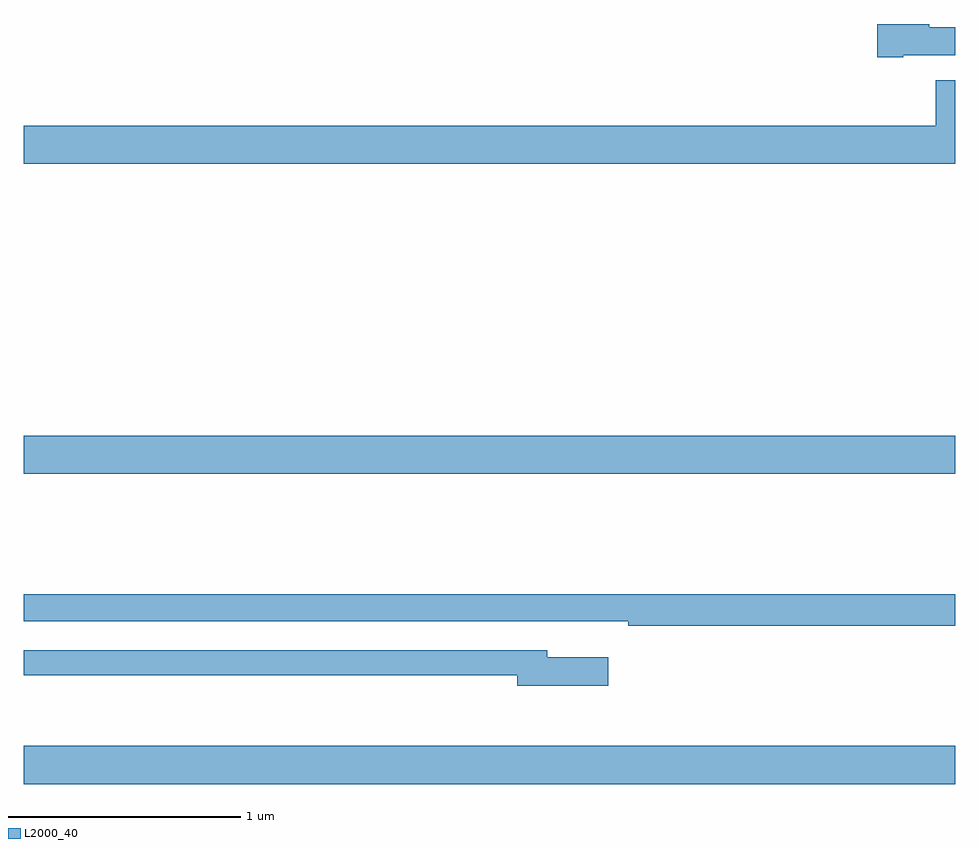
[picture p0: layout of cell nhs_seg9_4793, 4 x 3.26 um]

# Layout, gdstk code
import gdstk
lib = gdstk.Library(unit=1e-6, precision=1e-09)
def R(c, l, rs):  # rectangles x0, y0, x1, y1
    for r in rs: c.add(gdstk.rectangle(r[:2], r[2:], *l))
def P(c, l, *ps):  # polygons
    for p in ps: c.add(gdstk.Polygon(p, *l))
L2000_40 = (2000, 40)

nhs_seg9_4793 = lib.new_cell('nhs_seg9_4793')
R(nhs_seg9_4793, L2000_40, [(387,1235.048,391,1235.212), (387,1236.38,391,1236.544)])
P(nhs_seg9_4793, L2000_40, [(390.778,1238.177),(391,1238.177),(391,1238.299),(390.888,1238.299),(390.888,1238.312),(390.666,1238.312),(390.666,1238.17),(390.778,1238.17)],
  [(391,1238.071),(390.917,1238.071),(390.917,1237.876),(387,1237.876),(387,1237.712),(391,1237.712)],
  [(391,1235.864),(387,1235.864),(387,1235.748),(389.344,1235.748),(389.344,1235.747),(389.596,1235.747),(389.596,1235.728),(391,1235.728)],
  [(389.509,1235.593),(389.248,1235.593),(389.248,1235.622),(387,1235.622),(387,1235.514),(389.12,1235.514),(389.12,1235.471),(389.509,1235.471)])

lib.write_gds('nhs_seg9_4793.gds')
